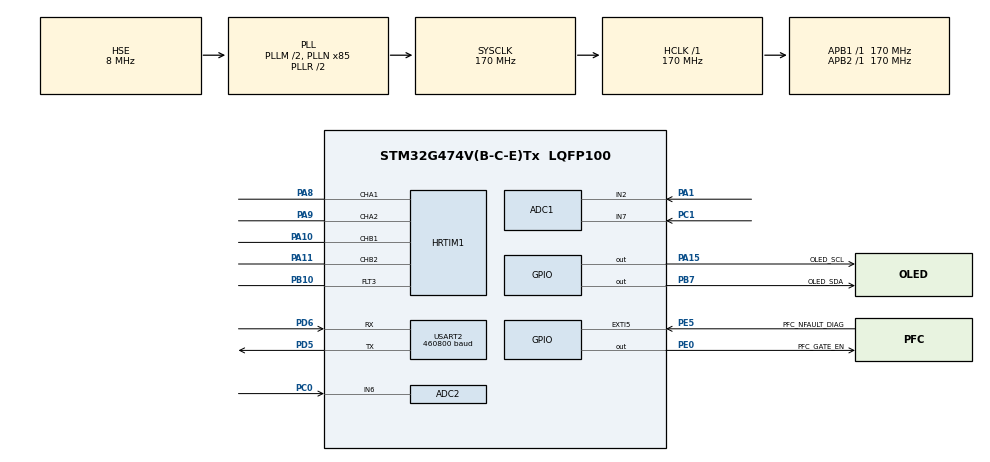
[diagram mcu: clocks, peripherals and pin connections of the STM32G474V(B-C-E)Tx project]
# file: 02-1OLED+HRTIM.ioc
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ADC1.Channel-0\#ChannelRegularConversion=ADC_CHANNEL_2
ADC1.Channel-1\#ChannelRegularConversion=ADC_CHANNEL_7
ADC1.ClockPrescaler=ADC_CLOCK_ASYNC_DIV4
ADC1.DMAContinuousRequests=ENABLE
ADC1.EOCSelection=ADC_EOC_SEQ_CONV
ADC1.ExternalTrigConv=ADC_EXTERNALTRIG_HRTIM_TRG1
ADC1.NbrOfConversion=2
ADC1.NbrOfConversionFlag=1
ADC1.OffsetNumber-0\#ChannelRegularConversion=ADC_OFFSET_NONE
ADC1.OffsetNumber-1\#ChannelRegularConversion=ADC_OFFSET_NONE
ADC1.Overrun=ADC_OVR_DATA_OVERWRITTEN
ADC1.Rank-0\#ChannelRegularConversion=1
ADC1.Rank-1\#ChannelRegularConversion=2
ADC1.SamplingTime-0\#ChannelRegularConversion=ADC_SAMPLETIME_24CYCLES_5
ADC1.SamplingTime-1\#ChannelRegularConversion=ADC_SAMPLETIME_24CYCLES_5
ADC1.master=1
ADC2.Channel-0\#ChannelRegularConversion=ADC_CHANNEL_6
ADC2.ClockPrescaler=ADC_CLOCK_ASYNC_DIV4
ADC2.DMAContinuousRequests=ENABLE
ADC2.ExternalTrigConv=ADC_EXTERNALTRIG_HRTIM_TRG1
ADC2.NbrOfConversion=1
ADC2.NbrOfConversionFlag=1
ADC2.OffsetNumber-0\#ChannelRegularConversion=ADC_OFFSET_NONE
ADC2.Overrun=ADC_OVR_DATA_OVERWRITTEN
ADC2.Rank-0\#ChannelRegularConversion=1
ADC2.SamplingTime-0\#ChannelRegularConversion=ADC_SAMPLETIME_24CYCLES_5
Dma.ADC1.0.Direction=DMA_PERIPH_TO_MEMORY
Dma.ADC1.0.EventEnable=DISABLE
Dma.ADC1.0.Instance=DMA1_Channel1
Dma.ADC1.0.MemDataAlignment=DMA_MDATAALIGN_HALFWORD
Dma.ADC1.0.MemInc=DMA_MINC_ENABLE
Dma.ADC1.0.Mode=DMA_CIRCULAR
Dma.ADC1.0.PeriphDataAlignment=DMA_PDATAALIGN_HALFWORD
Dma.ADC1.0.PeriphInc=DMA_PINC_DISABLE
Dma.ADC1.0.Polarity=HAL_DMAMUX_REQ_GEN_RISING
Dma.ADC1.0.Priority=DMA_PRIORITY_HIGH
Dma.ADC1.0.RequestNumber=1
Dma.ADC1.0.SignalID=NONE
Dma.ADC1.0.SyncEnable=DISABLE
Dma.ADC1.0.SyncPolarity=HAL_DMAMUX_SYNC_NO_EVENT
Dma.ADC1.0.SyncRequestNumber=1
Dma.ADC1.0.SyncSignalID=NONE
Dma.ADC2.1.Direction=DMA_PERIPH_TO_MEMORY
Dma.ADC2.1.EventEnable=DISABLE
Dma.ADC2.1.Instance=DMA1_Channel2
Dma.ADC2.1.MemDataAlignment=DMA_MDATAALIGN_HALFWORD
Dma.ADC2.1.MemInc=DMA_MINC_ENABLE
Dma.ADC2.1.Mode=DMA_CIRCULAR
Dma.ADC2.1.PeriphDataAlignment=DMA_PDATAALIGN_HALFWORD
Dma.ADC2.1.PeriphInc=DMA_PINC_DISABLE
Dma.ADC2.1.Polarity=HAL_DMAMUX_REQ_GEN_RISING
Dma.ADC2.1.Priority=DMA_PRIORITY_HIGH
Dma.ADC2.1.RequestNumber=1
Dma.ADC2.1.SignalID=NONE
Dma.ADC2.1.SyncEnable=DISABLE
Dma.ADC2.1.SyncPolarity=HAL_DMAMUX_SYNC_NO_EVENT
Dma.ADC2.1.SyncRequestNumber=1
Dma.ADC2.1.SyncSignalID=NONE
Dma.Request0=ADC1
Dma.Request1=ADC2
HRTIM1.ADCTrigger1_Source1=HRTIM_ADCTRIGGEREVENT13_MASTER_CMP2
HRTIM1.ADCTrigger_Id1=HRTIM_ADCTRIGGER_1
HRTIM1.Bmrom_TA=HRTIM_TIM_BMROM_BOTH
HRTIM1.Bmrom_TB=HRTIM_TIM_BMROM_VALLEY
HRTIM1.CompareUnit1-Output_TA1TA2=HRTIM_COMPAREUNIT_1
HRTIM1.CompareUnit1-Output_TB1TB2=HRTIM_COMPAREUNIT_1
HRTIM1.CompareUnit2-MasterTimer=HRTIM_COMPAREUNIT_2
HRTIM1.CompareValue1-Output_TA1TA2=17000
HRTIM1.CompareValue1-Output_TB1TB2=17000
HRTIM1.CompareValue2-MasterTimer=17000
HRTIM1.DeadTimeInsertion-Output_TA1TA2=HRTIM_TIMDEADTIMEINSERTION_ENABLED
HRTIM1.DeadTimeInsertion-Output_TB1TB2=HRTIM_TIMDEADTIMEINSERTION_ENABLED
HRTIM1.FallingValue-Output_TA1TA2=85
HRTIM1.FallingValue-Output_TB1TB2=85
HRTIM1.FaultEnable_Source1-Output_TA1TA2=HRTIM_TIMFAULTENABLE_FAULT3
HRTIM1.FaultEnable_Source1-Output_TB1TB2=HRTIM_TIMFAULTENABLE_FAULT3
HRTIM1.FaultLevel1-Output_TA1TA2=HRTIM_OUTPUTFAULTLEVEL_INACTIVE
HRTIM1.FaultLevel1-Output_TB1TB2=HRTIM_OUTPUTFAULTLEVEL_INACTIVE
HRTIM1.FaultLevel2-Output_TA1TA2=HRTIM_OUTPUTFAULTLEVEL_INACTIVE
HRTIM1.FaultLevel2-Output_TB1TB2=HRTIM_OUTPUTFAULTLEVEL_INACTIVE
HRTIM1.Fault_Line3=HRTIM_FAULT_3
HRTIM1.Ferom_TA=HRTIM_TIM_FEROM_BOTH
HRTIM1.Ferom_TB=HRTIM_TIM_FEROM_VALLEY
HRTIM1.HRTIMInterruptResquests1=HRTIM_IT_FLT3
HRTIM1.NumberADCTriggerSource1=1
HRTIM1.NumberFaultEnable-Output_TA1TA2=1
HRTIM1.NumberFaultEnable-Output_TB1TB2=1
HRTIM1.NumberSetSource1-Output_TA1TA2=1
HRTIM1.NumberSetSource1-Output_TB1TB2=1
HRTIM1.NumberUpdateTrigger-Output_TA1TA2=0
HRTIM1.Outrom_TA=HRTIM_TIM_OUTROM_VALLEY
HRTIM1.Outrom_TB=HRTIM_TIM_OUTROM_VALLEY
HRTIM1.Periode_MASTER=34000
HRTIM1.Periode_TA=34000
HRTIM1.Periode_TB=34000
HRTIM1.Polarity_FaultLine3=HRTIM_FAULTPOLARITY_LOW
HRTIM1.PreloadEnable-Output_TA1TA2=HRTIM_PRELOAD_ENABLED
HRTIM1.PreloadEnable-Output_TB1TB2=HRTIM_PRELOAD_ENABLED
HRTIM1.PrescalerDead-Output_TA1TA2=HRTIM_TIMDEADTIME_PRESCALERRATIO_DIV1
HRTIM1.PrescalerDead-Output_TB1TB2=HRTIM_TIMDEADTIME_PRESCALERRATIO_DIV1
HRTIM1.PrescalerRatio_MASTER=HRTIM_PRESCALERRATIO_MUL2
HRTIM1.PrescalerRatio_TA=HRTIM_PRESCALERRATIO_MUL4
HRTIM1.PrescalerRatio_TB=HRTIM_PRESCALERRATIO_MUL4
HRTIM1.RepetitionCounter-MasterTimer=0
HRTIM1.RepetitionCounter-Output_TA1TA2=0
HRTIM1.RepetitionCounter-Output_TB1TB2=0
HRTIM1.RepetitionUpdate-Output_TA1TA2=HRTIM_UPDATEONREPETITION_ENABLED
HRTIM1.RepetitionUpdate-Output_TB1TB2=HRTIM_UPDATEONREPETITION_ENABLED
HRTIM1.RisingValue-Output_TA1TA2=85
HRTIM1.RisingValue-Output_TB1TB2=85
HRTIM1.SetOutput1_Source1-Output_TA1TA2=HRTIM_OUTPUTSET_TIMCMP1
HRTIM1.SetOutput1_Source1-Output_TB1TB2=HRTIM_OUTPUTSET_TIMCMP1
HRTIM1.UpDownMode-Output_TA1TA2=HRTIM_TIMERUPDOWNMODE_UPDOWN
HRTIM1.UpDownMode-Output_TB1TB2=HRTIM_TIMERUPDOWNMODE_UPDOWN
HRTIM1.postscaler1=0
HRTIM1.rom_TA=HRTIM_TIM_ROM_VALLEY
HRTIM1.rom_TB=HRTIM_TIM_ROM_VALLEY
IWDG.Prescaler=IWDG_PRESCALER_64
IWDG.Reload=249
Mcu.Family=STM32G4
Mcu.Name=STM32G474V(B-C-E)Tx
Mcu.Package=LQFP100
NVIC.DMA1_Channel1_IRQn=true\:2\:0\:true\:false\:true\:false\:true\:true
NVIC.DMA1_Channel2_IRQn=true\:1\:0\:true\:false\:true\:false\:true\:true
NVIC.EXTI9_5_IRQn=true\:3\:0\:true\:false\:true\:true\:true\:true
NVIC.HRTIM1_FLT_IRQn=true\:0\:0\:false\:false\:true\:true\:true\:true
NVIC.PriorityGroup=NVIC_PRIORITYGROUP_4
PA1.Mode=IN2-Single-Ended
PA1.Signal=ADC1_IN2
PA10.Mode=Output_TB1TB2
PA10.Signal=HRTIM1_CHB1
PA11.Mode=Output_TB1TB2
PA11.Signal=HRTIM1_CHB2
PA13.Mode=Serial_Wire
PA13.Signal=SYS_JTMS-SWDIO
PA14.Mode=Serial_Wire
PA14.Signal=SYS_JTCK-SWCLK
PA15.GPIO_Label=OLED_SCL
PA15.GPIO_ModeDefaultOutputPP=GPIO_MODE_OUTPUT_PP
PA15.GPIO_PuPd=GPIO_NOPULL
PA15.GPIO_Speed=GPIO_SPEED_FREQ_HIGH
PA15.Signal=GPIO_Output
PA8.Mode=Output_TA1TA2
PA8.Signal=HRTIM1_CHA1
PA9.Mode=Output_TA1TA2
PA9.Signal=HRTIM1_CHA2
PB10.Mode=Fault_Enable3
PB10.Signal=HRTIM1_FLT3
PB7.GPIO_Label=OLED_SDA
PB7.GPIO_ModeDefaultOutputPP=GPIO_MODE_OUTPUT_OD
PB7.GPIO_PuPd=GPIO_NOPULL
PB7.GPIO_Speed=GPIO_SPEED_FREQ_HIGH
PB7.Signal=GPIO_Output
PC0.Mode=IN6-Single-Ended
PC0.Signal=ADC2_IN6
PC1.Mode=IN7-Single-Ended
PC1.Signal=ADC1_IN7
PD5.Mode=Asynchronous
PD5.Signal=USART2_TX
PD6.Mode=Asynchronous
PD6.Signal=USART2_RX
PE0.GPIO_Label=PFC_GATE_EN
PE0.GPIO_PuPd=GPIO_NOPULL
PE0.Signal=GPIO_Output
PE5.GPIO_Label=PFC_NFAULT_DIAG
PE5.GPIO_ModeDefaultEXTI=GPIO_MODE_IT_FALLING
PE5.Signal=GPXTI5
PF0-OSC_IN.Mode=HSE-External-Oscillator
PF0-OSC_IN.Signal=RCC_OSC_IN
PF1-OSC_OUT.Mode=HSE-External-Oscillator
PF1-OSC_OUT.Signal=RCC_OSC_OUT
ProjectManager.HeapSize=0x200
ProjectManager.StackSize=0x400
ProjectManager.TargetToolchain=MDK-ARM V5.32
RCC.ADC12Freq_Value=170000000
RCC.ADC345Freq_Value=170000000
RCC.AHBFreq_Value=170000000
RCC.APB1Freq_Value=170000000
RCC.APB1TimFreq_Value=170000000
RCC.APB2Freq_Value=170000000
RCC.APB2TimFreq_Value=170000000
RCC.CortexFreq_Value=170000000
RCC.EXTERNAL_CLOCK_VALUE=12288000
RCC.HCLKFreq_Value=170000000
RCC.HSE_VALUE=8000000
RCC.HSI48_VALUE=48000000
RCC.HSI_VALUE=16000000
RCC.LSE_VALUE=32768
RCC.PLLM=RCC_PLLM_DIV2
RCC.PLLN=85
RCC.PLLSourceVirtual=RCC_PLLSOURCE_HSE
RCC.SYSCLKFreq_VALUE=170000000
RCC.SYSCLKSource=RCC_SYSCLKSOURCE_PLLCLK
RCC.USBFreq_Value=170000000
RCC.VCOOutputFreq_Value=340000000
USART2.BaudRate=460800
USART2.VirtualMode-Asynchronous=VM_ASYNC
VP_HRTIM1_VS_hrtimMasterTimerNoOutput.Mode=MasterTimer
VP_IWDG_VS_IWDG.Mode=IWDG_Activate
VP_SYS_VS_DBSignals.Mode=DisableDeadBatterySignals
board=custom

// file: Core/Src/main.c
/* USER CODE BEGIN Header */
/**
  ******************************************************************************
  * @file           : main.c
  * @brief          : Main program body
  ******************************************************************************
  * @attention
  *
  * Copyright (c) 2026 STMicroelectronics.
  * All rights reserved.
  *
  * This software is licensed under terms that can be found in the LICENSE file
  * in the root directory of this software component.
  * If no LICENSE file comes with this software, it is provided AS-IS.
  *
  ******************************************************************************
  */
/* USER CODE END Header */
#include "main.h"
#include "adc.h"
#include "dma.h"
#include "hrtim.h"
#include "usart.h"
#include "gpio.h"

/* USER CODE BEGIN Includes */
#include "SPWM.h"  /* HRTIM单相全桥单极性倍频SPWM模块。 */
#include "OLED.h"
#include <stdio.h>
#include "iwdg.h"
/* USER CODE END Includes */

/* USER CODE BEGIN PV */

	//gpt_hrtim_fault3_test---------------
	volatile uint32_t hrtim_fault3_count = 0U;
	volatile uint8_t hrtim_fault3_seen = 0U;

/* ADC1循环DMA缓冲区：下标0为IPFC，下标1为VBUS。 */
static volatile uint16_t adc1_dma_buffer[2] = {0U, 0U};

/* ADC2循环DMA缓冲区：下标0为VAC。 */
static volatile uint16_t adc2_dma_buffer[1] = {0U};

/* USER CODE END PV */

void SystemClock_Config(void);

/* USER CODE BEGIN 0 */

/* 四路HRTIM输出掩码，统一用于启动和发生错误时关闭输出。 */
#define SPWM_TEST_OUTPUTS (HRTIM_OUTPUT_TA1 | HRTIM_OUTPUT_TA2 | \
                           HRTIM_OUTPUT_TB1 | HRTIM_OUTPUT_TB2)

/* Master、Timer A和Timer B必须用同一个掩码同步启动。 */
#define SPWM_TEST_TIMERS  (HRTIM_TIMERID_MASTER | HRTIM_TIMERID_TIMER_A | \
                           HRTIM_TIMERID_TIMER_B)

/*
 * 无功率测试启动失败时执行统一安全收尾。
 * 本函数始终先拉低门极使能，再请求关闭全部HRTIM输出。
 */
static void SPWM_TestFailSafe(void)
{
  HAL_GPIO_WritePin(PFC_GATE_EN_GPIO_Port, PFC_GATE_EN_Pin, GPIO_PIN_RESET); /* 禁止外部门极驱动。 */
  (void)HAL_HRTIM_WaveformOutputStop(&hhrtim1, SPWM_TEST_OUTPUTS);            /* 关闭四路MCU PWM输出。 */
  Error_Handler();                                                           /* 停止程序并等待调试。 */
}

/* USER CODE END 0 */

int main(void)
{

  /* MCU Configuration--------------------------------------------------------*/

  /* Reset of all peripherals, Initializes the Flash interface and the Systick. */
  HAL_Init();

  /* Configure the system clock */
  SystemClock_Config();

  /* Initialize all configured peripherals */
  MX_GPIO_Init();
  MX_DMA_Init();
  MX_HRTIM1_Init();
  MX_ADC1_Init();
  MX_ADC2_Init();
  MX_USART2_UART_Init();
  /* USER CODE BEGIN 2 */

	HAL_Delay(100);
	OLED_Init();
	//此处用来放需要显示的名称
//	OLED_ShowNum(1,7,1234,4);
//	OLED_ShowNum(4,7,1234,4);

  /* 无功率示波器测试期间始终保持外部门极驱动关闭。 */
  HAL_GPIO_WritePin(PFC_GATE_EN_GPIO_Port, PFC_GATE_EN_Pin, GPIO_PIN_RESET);

  /* 先校准单通道VAC使用的ADC2；校准期间HRTIM尚未启动。 */
  if (HAL_ADCEx_Calibration_Start(&hadc2, ADC_SINGLE_ENDED) != HAL_OK)
  {
    SPWM_TestFailSafe(); /* ADC2校准失败时禁止继续启动PWM资源。 */
  }

  /* 再校准IPFC和VBUS使用的ADC1。 */
  if (HAL_ADCEx_Calibration_Start(&hadc1, ADC_SINGLE_ENDED) != HAL_OK)
  {
    SPWM_TestFailSafe(); /* ADC1校准失败时禁止继续启动PWM资源。 */
  }

  /* 先让ADC2进入等待HRTIM触发状态，保证VAC序列先完成。 */
  if (HAL_ADC_Start_DMA(&hadc2, (uint32_t *)adc2_dma_buffer, 1U) != HAL_OK)
  {
    SPWM_TestFailSafe(); /* ADC2 DMA启动失败时保持安全态。 */
  }

  /* 再让ADC1进入等待HRTIM触发状态；ADC1完成回调是唯一SPWM更新入口。 */
  if (HAL_ADC_Start_DMA(&hadc1, (uint32_t *)adc1_dma_buffer, 2U) != HAL_OK)
  {
    SPWM_TestFailSafe(); /* ADC1 DMA启动失败时保持安全态。 */
  }

  /* 首版控制只使用完整转换回调，关闭HAL默认打开的DMA半传输中断。 */
  __HAL_DMA_DISABLE_IT(hadc2.DMA_Handle, DMA_IT_HT);
  __HAL_DMA_DISABLE_IT(hadc1.DMA_Handle, DMA_IT_HT);

  /* 使用10%调制度初始化50 Hz开环正弦，初始比较值保持两个桥臂均为50%。 */
  SPWM_Init(0.10f);

  /* 同步启动Master、Timer A和Timer B，使两桥臂与ADC触发保持同一时基。 */
  if (HAL_HRTIM_WaveformCounterStart(&hhrtim1, SPWM_TEST_TIMERS) != HAL_OK)
  {
    SPWM_TestFailSafe(); /* 任一计数器启动失败时关闭全部输出。 */
  }

  /* 只开放MCU的四路HRTIM引脚供示波器观察，PE0仍保持低电平。 */
  if (HAL_HRTIM_WaveformOutputStart(&hhrtim1, SPWM_TEST_OUTPUTS) != HAL_OK)
  {
    SPWM_TestFailSafe(); /* 四路输出未完整启动时立即回到安全态。 */
  }

  MX_IWDG_Init();
  /* USER CODE END 2 */

  /* Infinite loop */
  /* USER CODE BEGIN WHILE */
  uint32_t oled_tick = 0;
  while (1)
  {
    /* USER CODE END WHILE */

    /* USER CODE BEGIN 3 */

	  //此处用来显示需要实时刷新的数据   eg：ADC
	if ((HAL_GetTick() - oled_tick) >= 100U)
    {
        oled_tick = HAL_GetTick();
//		OLED_ShowNum(1, 7, adc_value, 4);
        OLED_ShowString(2, 1, "OLED OK");

    }

    (void)HAL_IWDG_Refresh(&hiwdg); /* 无功率试波阶段持续喂狗，避免约500 ms后复位。 */

  }
  /* USER CODE END 3 */
}

void SystemClock_Config(void)
{
  RCC_OscInitTypeDef RCC_OscInitStruct = {0};
  RCC_ClkInitTypeDef RCC_ClkInitStruct = {0};

  /** Configure the main internal regulator output voltage
  */
  HAL_PWREx_ControlVoltageScaling(PWR_REGULATOR_VOLTAGE_SCALE1_BOOST);

  /** Initializes the RCC Oscillators according to the specified parameters
  * in the RCC_OscInitTypeDef structure.
  */
  RCC_OscInitStruct.OscillatorType = RCC_OSCILLATORTYPE_LSI|RCC_OSCILLATORTYPE_HSE;
  RCC_OscInitStruct.HSEState = RCC_HSE_ON;
  RCC_OscInitStruct.LSIState = RCC_LSI_ON;
  RCC_OscInitStruct.PLL.PLLState = RCC_PLL_ON;
  RCC_OscInitStruct.PLL.PLLSource = RCC_PLLSOURCE_HSE;
  RCC_OscInitStruct.PLL.PLLM = RCC_PLLM_DIV2;
  RCC_OscInitStruct.PLL.PLLN = 85;
  RCC_OscInitStruct.PLL.PLLP = RCC_PLLP_DIV2;
  RCC_OscInitStruct.PLL.PLLQ = RCC_PLLQ_DIV2;
  RCC_OscInitStruct.PLL.PLLR = RCC_PLLR_DIV2;
  if (HAL_RCC_OscConfig(&RCC_OscInitStruct) != HAL_OK)
  {
    Error_Handler();
  }

  /** Initializes the CPU, AHB and APB buses clocks
  */
  RCC_ClkInitStruct.ClockType = RCC_CLOCKTYPE_HCLK|RCC_CLOCKTYPE_SYSCLK
                              |RCC_CLOCKTYPE_PCLK1|RCC_CLOCKTYPE_PCLK2;
  RCC_ClkInitStruct.SYSCLKSource = RCC_SYSCLKSOURCE_PLLCLK;
  RCC_ClkInitStruct.AHBCLKDivider = RCC_SYSCLK_DIV1;
  RCC_ClkInitStruct.APB1CLKDivider = RCC_HCLK_DIV1;
  RCC_ClkInitStruct.APB2CLKDivider = RCC_HCLK_DIV1;

  if (HAL_RCC_ClockConfig(&RCC_ClkInitStruct, FLASH_LATENCY_4) != HAL_OK)
  {
    Error_Handler();
  }
}

/* USER CODE BEGIN 4 */

//gpt_hrtim_fault3_test-----------------------------
void HAL_HRTIM_Fault3Callback(HRTIM_HandleTypeDef *hhrtim)
{
    if ((hhrtim != NULL) && (hhrtim->Instance == HRTIM1))
    {
        /* 即使硬件已经关闭PWM，软件仍再次确保驱动使能为低。 */
        HAL_GPIO_WritePin(PFC_GATE_EN_GPIO_Port,
                          PFC_GATE_EN_Pin,
                          GPIO_PIN_RESET);

        hrtim_fault3_seen = 1U;
        hrtim_fault3_count++;
    }
}

/*
 * 两路ADC都由HRTIM Master CMP2以10 kHz触发。
 * 只有ADC1完整序列完成时推进一次SPWM，ADC2完成回调不执行调制更新。
 */
void HAL_ADC_ConvCpltCallback(ADC_HandleTypeDef *hadc)
{
  if ((hadc != NULL) && (hadc->Instance == ADC1)) /* 确认本次是ADC1两通道序列完成。 */
  {
    SPWM_OpenLoopStep(); /* 每100 us推进两个查表索引，得到50 Hz正弦包络。 */
  }
}

/* USER CODE END 4 */

void Error_Handler(void)
{
  __disable_irq();
  while (1)
  {
  }
}
